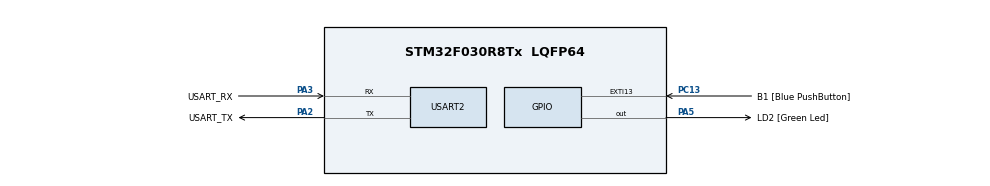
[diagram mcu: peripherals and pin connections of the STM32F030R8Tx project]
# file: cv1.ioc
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Mcu.Family=STM32F0
Mcu.Name=STM32F030R8Tx
Mcu.Package=LQFP64
PA13.GPIO_Label=TMS
PA13.Mode=Serial_Wire
PA13.Signal=SYS_SWDIO
PA14.GPIO_Label=TCK
PA14.Mode=Serial_Wire
PA14.Signal=SYS_SWCLK
PA2.GPIO_Label=USART_TX
PA2.GPIO_Mode=GPIO_MODE_AF_PP
PA2.GPIO_PuPd=GPIO_NOPULL
PA2.GPIO_Speed=GPIO_SPEED_FREQ_LOW
PA2.Mode=Asynchronous
PA2.Signal=USART2_TX
PA3.GPIO_Label=USART_RX
PA3.GPIO_Mode=GPIO_MODE_AF_PP
PA3.GPIO_PuPd=GPIO_NOPULL
PA3.GPIO_Speed=GPIO_SPEED_FREQ_LOW
PA3.Mode=Asynchronous
PA3.Signal=USART2_RX
PA5.GPIO_Label=LD2 [Green Led]
PA5.GPIO_Mode=GPIO_MODE_OUTPUT_PP
PA5.GPIO_PuPd=GPIO_NOPULL
PA5.GPIO_Speed=GPIO_SPEED_FREQ_LOW
PA5.Signal=GPIO_Output
PC13.GPIO_Label=B1 [Blue PushButton]
PC13.GPIO_ModeDefaultEXTI=GPIO_MODE_IT_FALLING
PC13.Signal=GPXTI13
PC14-OSC32_IN.Mode=LSE-External-Oscillator
PC14-OSC32_IN.Signal=RCC_OSC32_IN
PC15-OSC32_OUT.Mode=LSE-External-Oscillator
PC15-OSC32_OUT.Signal=RCC_OSC32_OUT
PF0-OSC_IN.Mode=HSE-External-Clock-Source
PF0-OSC_IN.Signal=RCC_OSC_IN
PF1-OSC_OUT.Signal=RCC_OSC_OUT
ProjectManager.HeapSize=0x200
ProjectManager.StackSize=0x400
ProjectManager.TargetToolchain=STM32CubeIDE
RCC.AHBFreq_Value=48000000
RCC.APB1Freq_Value=48000000
RCC.APB1TimFreq_Value=48000000
RCC.HCLKFreq_Value=48000000
RCC.PLLMUL=RCC_PLL_MUL12
RCC.SYSCLKFreq_VALUE=48000000
RCC.SYSCLKSource=RCC_SYSCLKSOURCE_PLLCLK
USART2.VirtualMode-Asynchronous=VM_ASYNC
board=NUCLEO-F030R8

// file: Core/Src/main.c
/* USER CODE BEGIN Header */
/**
  ******************************************************************************
  * @file           : main.c
  * @brief          : Main program body
  ******************************************************************************
  * @attention
  *
  * Copyright (c) 2023 STMicroelectronics.
  * All rights reserved.
  *
  * This software is licensed under terms that can be found in the LICENSE file
  * in the root directory of this software component.
  * If no LICENSE file comes with this software, it is provided AS-IS.
  *
  ******************************************************************************
  */
/* USER CODE END Header */
#include "main.h"

void SystemClock_Config(void);
static void MX_GPIO_Init(void);
static void MX_USART2_UART_Init(void);

/* USER CODE BEGIN 0 */
void morse_LD(const char* c)
{
	  for (int i = 0; c[i] != '\n' ; i++)
	  {
		  if (c[i] == '.')  {
			  LL_GPIO_SetOutputPin(LD2_GPIO_Port, LD2_Pin);
			  LL_mDelay(200);
			  LL_GPIO_ResetOutputPin(LD2_GPIO_Port, LD2_Pin);
		  }

		  else if (c[i] == '-') {
			  LL_GPIO_SetOutputPin(LD2_GPIO_Port, LD2_Pin);
			  LL_mDelay(400);
			  LL_GPIO_ResetOutputPin(LD2_GPIO_Port, LD2_Pin);
		  }

		  LL_mDelay(100);
	  }

	  LL_mDelay(100);
}

char* char2morse(const char c)
{
	  switch(c)
	  {

	  case 'a':
		  return ".-\n";
	  case 'b':
		  return "-...\n";
	  case 'c':
		  return "-.-.\n";
	  case 'd':
		  return "-..\n";
	  case 'e':
		  return ".\n";
	  case 'f':
		  return "..-.\n";
	  case 'g':
		  return "--.\n";
	  case 'h':
		  return "....\n";
	  case 'i':
		  return "..\n";
	  case 'j':
		  return ".---\n";
	  case 'k':
		  return "-.-\n";
	  case 'l':
		  return ".-..\n";
	  case 'm':
		  return "--\n";
	  case 'n':
		  return "-.\n";
	  case 'o':
		  return "---\n";
	  case 'p':
		  return ".--.\n";
	  case 'q':
		  return "--.-\n";
	  case 'r':
		  return ".-.\n";
	  case 's':
		  return "...\n";
	  case 't':
		  return "-\n";
	  case 'u':
		  return "..-\n";
	  case 'v':
		  return "...-\n";
	  case 'w':
		  return ".--\n";
	  case 'x':
		  return "-..-\n";
	  case 'y':
		  return "-.--\n";
	  case 'z':
		  return "--..\n";
	  default:
	  	  return 0;
	  }
}

void morse_translate (const char* txt)
{
	for (int i = 0; txt[i] != '\n'; i++)
	{
		char* mor = 0;
		mor = char2morse(txt[i]);
		morse_LD(mor);
	}
}

// Allows to define txt to transmitt
void heavy_solution()
{
	char txt[] = "sos\n";

	morse_translate(txt);
}

// Morse code represented by binary number
void light_solution()
{
	uint16_t seq = 0b000111000;

	for (int i = 0; i < 9; i++)
	{
	  if ((seq & 0b100000000) == 0b100000000)  {
		  morse_LD("-\n");
	  }
	  else  {
		  morse_LD(".\n");
	  }

	  seq = seq << 1;

	}
}

void semilight_solution()
{
	static const uint8_t arr[] = {0, 0, 0, 1, 1, 1, 0, 0, 0};

	for (uint8_t i = 0; i < sizeof(arr); i++)  {
		if (arr[i] == 1) {
			morse_LD("-\n");
		}
		else {
			morse_LD(".\n");
		}
	}
}
/* USER CODE END 0 */

int main(void)
{

  /* MCU Configuration--------------------------------------------------------*/

  /* Reset of all peripherals, Initializes the Flash interface and the Systick. */
  LL_APB1_GRP2_EnableClock(LL_APB1_GRP2_PERIPH_SYSCFG);
  LL_APB1_GRP1_EnableClock(LL_APB1_GRP1_PERIPH_PWR);

  /* Configure the system clock */
  SystemClock_Config();

  /* Initialize all configured peripherals */
  MX_GPIO_Init();
  MX_USART2_UART_Init();

  /* Infinite loop */
  /* USER CODE BEGIN WHILE */
  while (1)
  {
	  //heavy_solution();
	  //light_solution();
	  semilight_solution();

	  LL_GPIO_ResetOutputPin(LD2_GPIO_Port, LD2_Pin);
	  LL_mDelay(500);

    /* USER CODE END WHILE */
  }
}

void SystemClock_Config(void)
{
  LL_FLASH_SetLatency(LL_FLASH_LATENCY_1);
  while(LL_FLASH_GetLatency() != LL_FLASH_LATENCY_1)
  {
  }
  LL_RCC_HSI_Enable();

   /* Wait till HSI is ready */
  while(LL_RCC_HSI_IsReady() != 1)
  {

  }
  LL_RCC_HSI_SetCalibTrimming(16);
  LL_RCC_PLL_ConfigDomain_SYS(LL_RCC_PLLSOURCE_HSI_DIV_2, LL_RCC_PLL_MUL_12);
  LL_RCC_PLL_Enable();

   /* Wait till PLL is ready */
  while(LL_RCC_PLL_IsReady() != 1)
  {

  }
  LL_RCC_SetAHBPrescaler(LL_RCC_SYSCLK_DIV_1);
  LL_RCC_SetAPB1Prescaler(LL_RCC_APB1_DIV_1);
  LL_RCC_SetSysClkSource(LL_RCC_SYS_CLKSOURCE_PLL);

   /* Wait till System clock is ready */
  while(LL_RCC_GetSysClkSource() != LL_RCC_SYS_CLKSOURCE_STATUS_PLL)
  {

  }
  LL_Init1msTick(48000000);
  LL_SetSystemCoreClock(48000000);
}

static void MX_USART2_UART_Init(void)
{

  LL_USART_InitTypeDef USART_InitStruct = {0};

  LL_GPIO_InitTypeDef GPIO_InitStruct = {0};

  /* Peripheral clock enable */
  LL_APB1_GRP1_EnableClock(LL_APB1_GRP1_PERIPH_USART2);

  LL_AHB1_GRP1_EnableClock(LL_AHB1_GRP1_PERIPH_GPIOA);
  /**USART2 GPIO Configuration
  PA2   ------> USART2_TX
  PA3   ------> USART2_RX
  */
  GPIO_InitStruct.Pin = USART_TX_Pin;
  GPIO_InitStruct.Mode = LL_GPIO_MODE_ALTERNATE;
  GPIO_InitStruct.Speed = LL_GPIO_SPEED_FREQ_LOW;
  GPIO_InitStruct.OutputType = LL_GPIO_OUTPUT_PUSHPULL;
  GPIO_InitStruct.Pull = LL_GPIO_PULL_NO;
  GPIO_InitStruct.Alternate = LL_GPIO_AF_1;
  LL_GPIO_Init(USART_TX_GPIO_Port, &GPIO_InitStruct);

  GPIO_InitStruct.Pin = USART_RX_Pin;
  GPIO_InitStruct.Mode = LL_GPIO_MODE_ALTERNATE;
  GPIO_InitStruct.Speed = LL_GPIO_SPEED_FREQ_LOW;
  GPIO_InitStruct.OutputType = LL_GPIO_OUTPUT_PUSHPULL;
  GPIO_InitStruct.Pull = LL_GPIO_PULL_NO;
  GPIO_InitStruct.Alternate = LL_GPIO_AF_1;
  LL_GPIO_Init(USART_RX_GPIO_Port, &GPIO_InitStruct);

  USART_InitStruct.BaudRate = 38400;
  USART_InitStruct.DataWidth = LL_USART_DATAWIDTH_8B;
  USART_InitStruct.StopBits = LL_USART_STOPBITS_1;
  USART_InitStruct.Parity = LL_USART_PARITY_NONE;
  USART_InitStruct.TransferDirection = LL_USART_DIRECTION_TX_RX;
  USART_InitStruct.HardwareFlowControl = LL_USART_HWCONTROL_NONE;
  USART_InitStruct.OverSampling = LL_USART_OVERSAMPLING_16;
  LL_USART_Init(USART2, &USART_InitStruct);
  LL_USART_DisableIT_CTS(USART2);
  LL_USART_ConfigAsyncMode(USART2);
  LL_USART_Enable(USART2);

}

static void MX_GPIO_Init(void)
{
  LL_EXTI_InitTypeDef EXTI_InitStruct = {0};
  LL_GPIO_InitTypeDef GPIO_InitStruct = {0};

  /* GPIO Ports Clock Enable */
  LL_AHB1_GRP1_EnableClock(LL_AHB1_GRP1_PERIPH_GPIOC);
  LL_AHB1_GRP1_EnableClock(LL_AHB1_GRP1_PERIPH_GPIOF);
  LL_AHB1_GRP1_EnableClock(LL_AHB1_GRP1_PERIPH_GPIOA);

  /**/
  LL_GPIO_ResetOutputPin(LD2_GPIO_Port, LD2_Pin);

  /**/
  LL_SYSCFG_SetEXTISource(LL_SYSCFG_EXTI_PORTC, LL_SYSCFG_EXTI_LINE13);

  /**/
  LL_GPIO_SetPinPull(B1_GPIO_Port, B1_Pin, LL_GPIO_PULL_NO);

  /**/
  LL_GPIO_SetPinMode(B1_GPIO_Port, B1_Pin, LL_GPIO_MODE_INPUT);

  /**/
  EXTI_InitStruct.Line_0_31 = LL_EXTI_LINE_13;
  EXTI_InitStruct.LineCommand = ENABLE;
  EXTI_InitStruct.Mode = LL_EXTI_MODE_IT;
  EXTI_InitStruct.Trigger = LL_EXTI_TRIGGER_FALLING;
  LL_EXTI_Init(&EXTI_InitStruct);

  /**/
  GPIO_InitStruct.Pin = LD2_Pin;
  GPIO_InitStruct.Mode = LL_GPIO_MODE_OUTPUT;
  GPIO_InitStruct.Speed = LL_GPIO_SPEED_FREQ_LOW;
  GPIO_InitStruct.OutputType = LL_GPIO_OUTPUT_PUSHPULL;
  GPIO_InitStruct.Pull = LL_GPIO_PULL_NO;
  LL_GPIO_Init(LD2_GPIO_Port, &GPIO_InitStruct);

}

void Error_Handler(void)
{
  __disable_irq();
  while (1)
  {
  }
}
